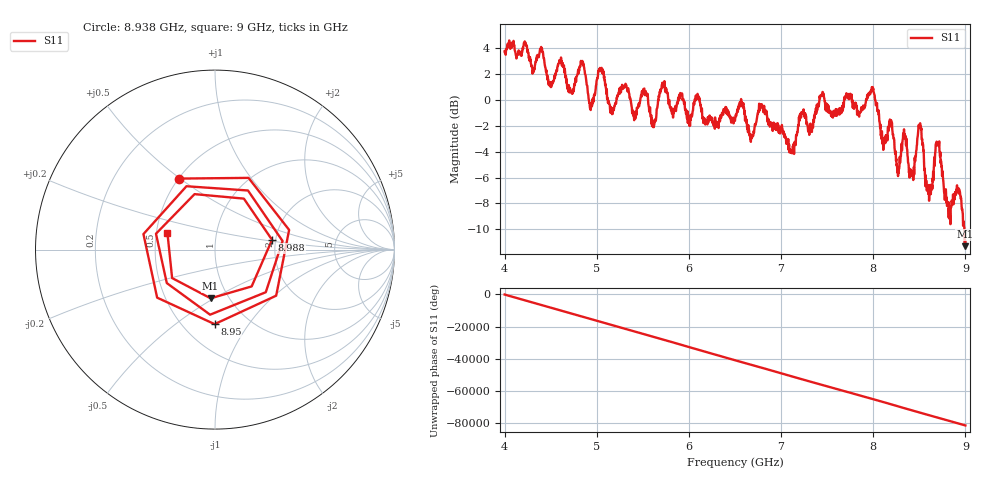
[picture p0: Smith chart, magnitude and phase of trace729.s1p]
! Created with skrf 1.8.0 (http://scikit-rf.org).
# Hz S RI R 50.0
!freq ReS11 ImS11
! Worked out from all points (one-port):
!   1601 points, 4 GHz to 9 GHz, reference 50 ohm
!   lowest |S11| = -11.3 dB at 8.994 GHz (marker M1), VSWR 1.75, Z = 41.2 - j24.2 ohm
!   |S11| at or under -10 dB: 8.988536 GHz to end of sweep
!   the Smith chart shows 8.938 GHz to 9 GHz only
!   S11 on the Smith chart (normalised r, x): 8.938 GHz: 0.50, +0.50; 8.95 GHz: 0.70, -0.71; 8.988 GHz: 1.91, +0.23; 9 GHz: 0.57, +0.12
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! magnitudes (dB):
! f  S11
! 4 GHz  3.7
! 4.625 GHz  2.9
! 4.725 GHz  0.6
! 4.844 GHz  3.0
! 4.941 GHz  -0.3
! 5.041 GHz  2.3
! 5.159 GHz  -0.9
! 5.25 GHz  0.5
! 5.875 GHz  -0.3
! 6.5 GHz  -1.6
! 6.681 GHz  -3.0
! 6.794 GHz  -0.4
! 7.125 GHz  -3.9
! 7.441 GHz  0.4
! 7.75 GHz  0.5
! 7.991 GHz  0.8
! 8.106 GHz  -3.0
! 8.375 GHz  -4.4
! 8.419 GHz  -5.6
! 8.506 GHz  -1.9
! 8.6 GHz  -6.7
! 8.697 GHz  -3.3
! 8.819 GHz  -9.1
! 8.938 GHz  -7.1
! 8.95 GHz  -7.6
! 8.988 GHz  -9.8
! 8.994 GHz  -11.3
! 9 GHz  -11.0
